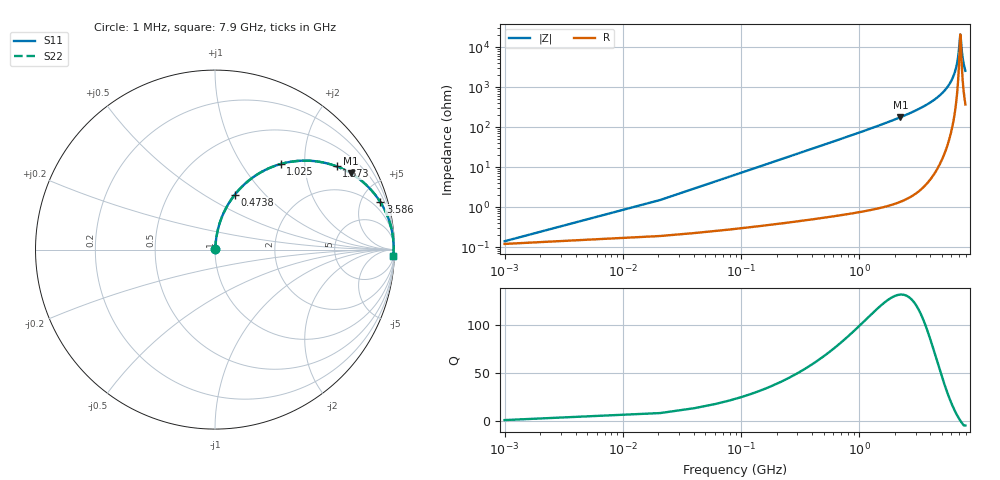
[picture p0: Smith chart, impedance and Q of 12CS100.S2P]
! Coilcraft 1206CS-100 Chip Inductor
! 29 July 2002
# MHZ S MA R 50
!Freq  MagS11  AngS11  MagS21  AngS21  MagS12  AngS12  MagS22  AngS22
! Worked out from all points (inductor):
!   402 points, 1 MHz to 7.9 GHz, reference 50 ohm
!   read as one part in series: L = 11.5 nH near 40.4 MHz
!   highest Q = 132 at 2.227 GHz (marker M1), where L = 12.7 nH
!   self-resonance near 7.152 GHz
!   S11 on the Smith chart (normalised r, x): 1 MHz: 1.00, +0.00; 473.8 MHz: 1.01, +0.69; 1.025 GHz: 1.02, +1.51; 1.873 GHz: 1.02, +2.90; 3.586 GHz: 1.07, +6.92; 7.9 GHz: 8, -51
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1  0.001395 31.1  0.9988 -0.0  0.9988 -0.0  0.001395 31.1
60.1  0.04335 84.2  0.9966 -2.5  0.9966 -2.5  0.04335 84.2
79.8  0.05748 84.0  0.9956 -3.3  0.9956 -3.3  0.05748 84.0
119.2  0.08563 83.0  0.9932 -4.9  0.9932 -4.9  0.08563 83.0
257.1  0.1822 78.2  0.9792 -10.5  0.9792 -10.5  0.1822 78.2
473.8  0.3237 70.2  0.9412 -18.9  0.9412 -18.9  0.3237 70.2
1025.4  0.6004 52.5  0.7937 -36.9  0.7937 -36.9  0.6004 52.5
1320.9  0.6998 45.1  0.7082 -44.4  0.7082 -44.4  0.6998 45.1
1872.5  0.8207 34.4  0.565 -55.2  0.565 -55.2  0.8207 34.4
2227.1  0.8692 29.2  0.4878 -60.4  0.4878 -60.4  0.8692 29.2
2640.8  0.9083 24.3  0.4112 -65.3  0.4112 -65.3  0.9083 24.3
3586.4  0.9582 16.1  0.2769 -73.4  0.2769 -73.4  0.9582 16.1
3960.7  0.9693 13.6  0.235 -75.7  0.235 -75.7  0.9693 13.6
5280.6  0.9898 6.8  0.1183 -81.7  0.1183 -81.7  0.9898 6.8
6068.6  0.9942 3.7  0.06388 -83.0  0.06388 -83.0  0.9942 3.7
6600.5  0.9953 1.8  0.03154 -80.6  0.03154 -80.6  0.9953 1.8
6876.3  0.9955 0.9  0.01611 -73.1  0.01611 -73.1  0.9955 0.9
7152.1  0.9953 0.0  0.004714 -4.3  0.004714 -4.3  0.9953 0.0
7211.2  0.9952 -0.2  0.005529 30.4  0.005529 30.4  0.9952 -0.2
7349.1  0.995 -0.6  0.01122 63.5  0.01122 63.5  0.995 -0.6
7487  0.9948 -1.0  0.01797 72.7  0.01797 72.7  0.9948 -1.0
7900  0.9938 -2.2  0.0383 79.6  0.0383 79.6  0.9938 -2.2
